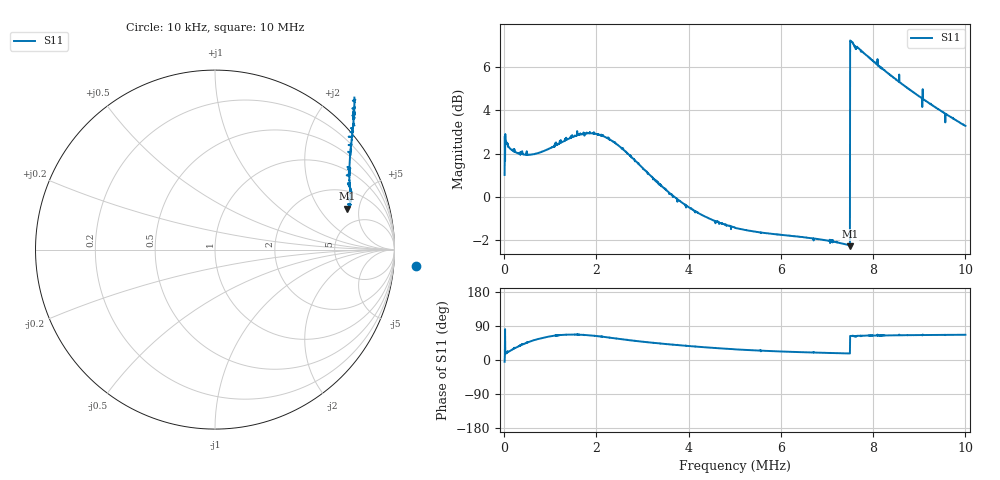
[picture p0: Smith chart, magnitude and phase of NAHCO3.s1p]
# HZ S RI R 50
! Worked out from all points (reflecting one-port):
!   2020 points, 10 kHz to 10 MHz, reference 50 ohm
!   lowest |S11| = -2.3 dB at 7.491 MHz (marker M1), VSWR 7.68, Z = 167 + j187 ohm
!   phase of S11 starts at -5 deg and turns +71 deg over the sweep
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10000  1.12 -0.0904
69376  1.245 0.4471
74324  1.219 0.5284
232660  1.085 0.6595
390996  0.9491 0.8506
603760  0.7973 0.9665
826420  0.6708 1.081
1054028  0.5815 1.167
1261844  0.5406 1.226
1613152  0.5468 1.278
1910032  0.6068 1.263
2172276  0.6725 1.201
2508740  0.7418 1.075
3166824  0.7769 0.8086
3760584  0.763 0.6262
4344448  0.7511 0.4999
5007480  0.7487 0.3991
6254376  0.7565 0.2964
7446844  0.7393 0.2317
7491376  0.735 0.2282
7506220  1.024 2.052
7550752  1.01 2.033
7615076  1.021 1.961
7699192  0.9654 1.972
7951540  0.8861 1.882
8753116  0.7369 1.622
9515108  0.6311 1.436
1.000001e7  0.58 1.339
